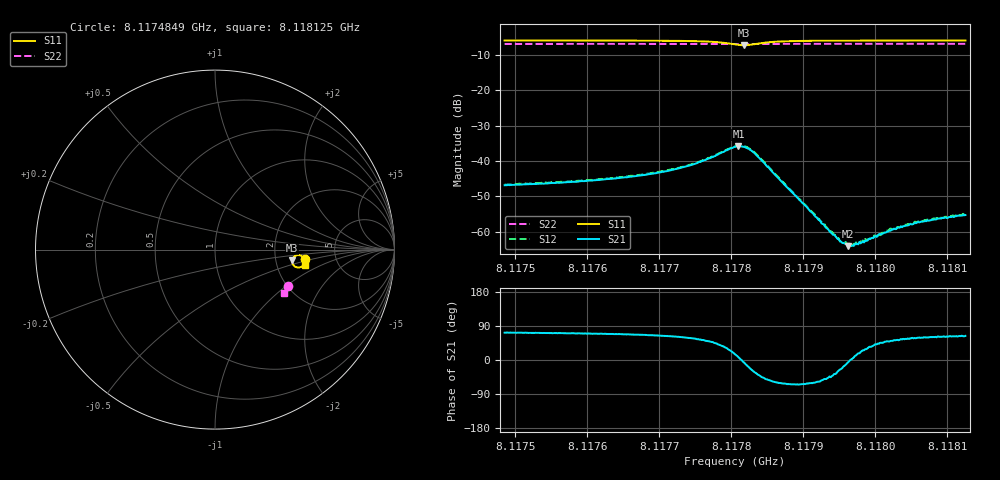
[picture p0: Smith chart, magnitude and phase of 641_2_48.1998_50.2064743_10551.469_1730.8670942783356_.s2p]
#  HZ  S  RI  R  50.00
! Rohde & Schwarz Vector Network Analyzer
! Rohde-Schwarz,ZNB20-2Port,1311601062101988,3.16
! Created: UTC 3/20/2024, 12:04:49 PM
! freq[Hz]  re:S11  im:S11  re:S21  im:S21  re:S12  im:S12  re:S22  im:S22
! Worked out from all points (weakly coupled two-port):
!   401 points, 8.1174849 GHz to 8.118125 GHz, reference 50 ohm
!   highest |S21| = -35.83 dB at 8.1178098 GHz (marker M1); lowest = -64.1 dB at 8.1179618 GHz (marker M2)
!   lowest |S11| = -7.3 dB at 8.1178178 GHz (marker M3), VSWR 2.53, Z = 124 - j18 ohm
!   |S11| at or under -10 dB: nowhere
!   |S22| runs from -6.9 to -6.8 dB; largest |S21 - S12| = 0.00055
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8.11748492e9  0.504 -0.0532  0.00139 0.00432  0.00145 0.00444  0.4058 -0.2003
8.11759214e9  0.502 -0.0641  0.00177 0.00487  0.00188 0.00499  0.4027 -0.2073
8.11764815e9  0.5 -0.0711  0.00218 0.00538  0.00219 0.0055  0.4009 -0.2109
8.11769936e9  0.4966 -0.0793  0.00296 0.0062  0.0031 0.00631  0.3993 -0.2142
8.11775217e9  0.4863 -0.0918  0.00537 0.00762  0.00543 0.00783  0.3971 -0.2178
8.11778738e9  0.4615 -0.0995  0.0107 0.00794  0.0109 0.00812  0.3948 -0.22
8.11780498e9  0.437 -0.0867  0.0153 0.00412  0.0155 0.00432  0.3933 -0.2201
8.11780978e9  0.4319 -0.0776  0.016 0.00198  0.0164 0.00218  0.3931 -0.22
8.11781778e9  0.4299 -0.0591  0.0157 -0.00192  0.0161 -0.00201  0.3931 -0.2198
8.11782578e9  0.438 -0.0423  0.0133 -0.00541  0.0138 -0.00538  0.3934 -0.2194
8.11783539e9  0.4544 -0.0318  0.00956 -0.00707  0.00989 -0.00733  0.3939 -0.2197
8.11786419e9  0.4868 -0.0387  0.00296 -0.00505  0.00303 -0.00526  0.3943 -0.2222
8.1179122e9  0.4984 -0.0568  0.000898 -0.00163  0.00092 -0.00166  0.3931 -0.2259
8.11794901e9  0.5 -0.0651  0.000687 -0.000368  0.000715 -0.000375  0.3919 -0.2285
8.11795381e9  0.5001 -0.066  0.000649 -0.000255  0.000678 -0.000268  0.3919 -0.2288
8.11796181e9  0.5001 -0.0675  0.00062 -7.09e-05  0.000657 -0.000114  0.3916 -0.2293
8.11796661e9  0.5002 -0.0682  0.000628 1.79e-05  0.000662 3.13e-05  0.3914 -0.2298
8.11797781e9  0.5004 -0.07  0.000683 0.000215  0.000643 0.000218  0.3911 -0.2305
8.11801942e9  0.5002 -0.0758  0.00068 0.000778  0.000694 0.00083  0.3897 -0.233
8.11806103e9  0.4998 -0.0805  0.000692 0.00116  0.000689 0.00118  0.3882 -0.2358
8.11808343e9  0.4996 -0.0828  0.000721 0.00131  0.000726 0.00135  0.3874 -0.2371
8.11812504e9  0.4989 -0.087  0.000762 0.00154  0.00083 0.00158  0.3861 -0.2397
